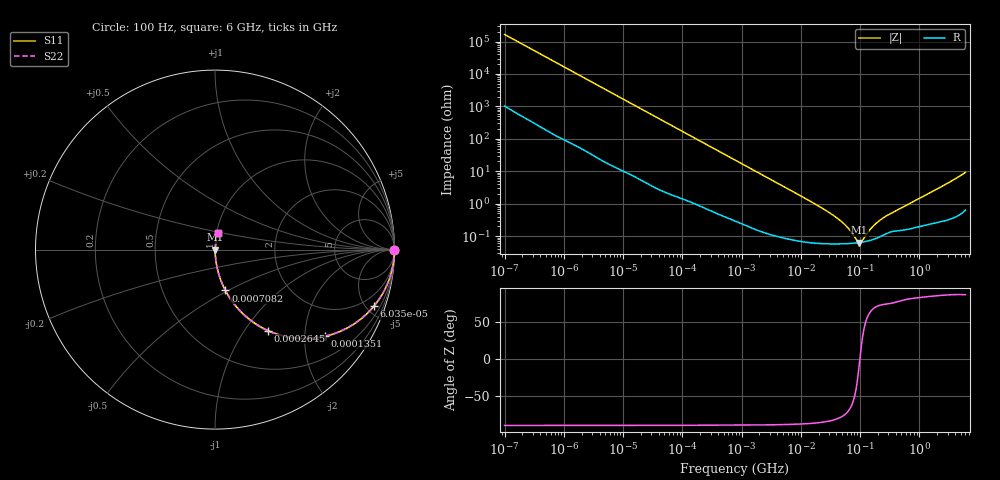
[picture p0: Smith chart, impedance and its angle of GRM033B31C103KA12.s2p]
!Murata Part Number: GRM033B31C103KA12
!These Parameters are Measured in Series Mode Connection
!Data Generated on Mar 30, 2021
!  o--ll--o
!Port1  Port2
!  o------o
!Operation Temp=25[degC], DC Bias Voltage=0[V]
!Freq. Start=100[Hz] Stop=6[GHz] 401[Steps]
# Hz S RI R 50
!Freq.(Hz) S11(Real) S11(Imag) S21(Real) S21(Imag) S12(Real) S12(Imag) S22(Real) S22(Imag)
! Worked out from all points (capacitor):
!   401 points, 100 Hz to 6 GHz, reference 50 ohm
!   read as one part in series: C = 9.61 nF near 109 Hz
!   lowest |Z| = 63.4 mohm at 97.54 MHz (marker M1)
!   series resonance near 99.4 MHz, so ESL is about 270 pH
!   S11 on the Smith chart (normalised r, x): 100 Hz: open; 60.35 kHz: 1.04, -5.60; 135.1 kHz: 1.02, -2.51; 264.5 kHz: 1.01, -1.29; 708.2 kHz: 1.01, -0.48; 6 GHz: 1.01, +0.18
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100  1 -0.000605  4.1e-06 0.000605  4.1e-06 0.000605  1 -0.000605
2008  0.9998 -0.012  0.000215 0.012  0.000215 0.012  0.9998 -0.012
12041  0.9945 -0.0712  0.00554 0.0712  0.00554 0.0712  0.9945 -0.0712
40335  0.9448 -0.2252  0.0552 0.2252  0.0552 0.2252  0.9448 -0.2252
60352  0.8853 -0.3151  0.1147 0.3151  0.1147 0.3151  0.8853 -0.3151
135116  0.6113 -0.4829  0.3887 0.4829  0.3887 0.4829  0.6113 -0.4829
264476  0.2955 -0.4512  0.7045 0.4512  0.7045 0.4512  0.2955 -0.4512
413847  0.1486 -0.3501  0.8514 0.3501  0.8514 0.3501  0.1486 -0.3501
708247  0.0581 -0.2275  0.9419 0.2275  0.9419 0.2275  0.0581 -0.2275
774597  0.0494 -0.2101  0.9506 0.2101  0.9506 0.2101  0.0494 -0.2101
2594782  0.00563 -0.0663  0.9944 0.0663  0.9944 0.0663  0.00563 -0.0663
1.555665e7  0.000735 -0.011  0.9993 0.011  0.9993 0.011  0.000735 -0.011
4.764863e7  0.000584 -0.00283  0.9994 0.00283  0.9994 0.00283  0.000584 -0.00283
6.518806e7  0.000591 -0.00153  0.9994 0.00153  0.9994 0.00153  0.000591 -0.00153
8.918374e7  0.000617 -0.000381  0.9994 0.000381  0.9994 0.000381  0.000617 -0.000381
9.753859e7  0.00063 -6.54e-05  0.9994 6.54e-05  0.9994 6.54e-05  0.00063 -6.54e-05
1.115611e8  0.000654 0.000407  0.9993 -0.000407  0.9993 -0.000407  0.000654 0.000407
1.459435e8  0.000732 0.00137  0.9993 -0.00137  0.9993 -0.00137  0.000732 0.00137
1.825626e8  0.000841 0.00223  0.9992 -0.00223  0.9992 -0.00223  0.000841 0.00223
3.124326e8  0.00131 0.00453  0.9987 -0.00453  0.9987 -0.00453  0.00131 0.00453
2.048624e9  0.00345 0.0288  0.9965 -0.0288  0.9965 -0.0288  0.00345 0.0288
6e9  0.0146 0.0902  0.9854 -0.0902  0.9854 -0.0902  0.0146 0.0902
